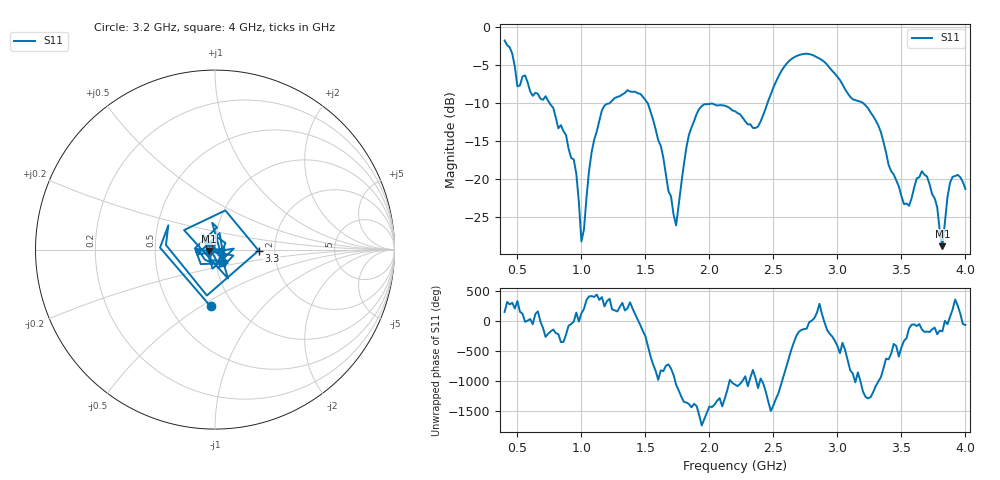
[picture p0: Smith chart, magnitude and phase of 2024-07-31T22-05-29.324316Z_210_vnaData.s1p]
!Created with skrf (http://scikit-rf.org).
# Hz S RI R 50.0
!freq ReS11 ImS11
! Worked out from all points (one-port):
!   181 points, 400 MHz to 4 GHz, reference 50 ohm
!   lowest |S11| = -28.8 dB at 3.82 GHz (marker M1), VSWR 1.08, Z = 46.6 - j0.693 ohm
!   |S11| at or under -10 dB: 752.1 MHz to 1.221 GHz (468.4 MHz wide, 47.5 % of centre); 1.518 GHz to 2.453 GHz (935.6 MHz wide, 47.1 % of centre); 3.202 GHz to end of sweep
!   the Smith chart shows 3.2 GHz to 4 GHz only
!   S11 on the Smith chart (normalised r, x): 3.2 GHz: 0.78, -0.55; 3.3 GHz: 1.64, -0.02; 4 GHz: 1.07, -0.17
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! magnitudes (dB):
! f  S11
! 400 MHz  -1.7
! 500 MHz  -7.8
! 560 MHz  -6.3
! 860 MHz  -13.7
! 960 MHz  -19.2
! 1 GHz  -28.2
! 1.08 GHz  -16.4
! 1.16 GHz  -11.0
! 1.3 GHz  -9.1
! 1.52 GHz  -10.1
! 1.74 GHz  -26.1
! 1.76 GHz  -23.3
! 1.84 GHz  -14.2
! 1.92 GHz  -10.8
! 2.2 GHz  -11.0
! 2.38 GHz  -13.1
! 2.66 GHz  -4.0
! 2.88 GHz  -4.3
! 3.1 GHz  -9.2
! 3.2 GHz  -10.0
! 3.3 GHz  -12.3
! 3.56 GHz  -23.5
! 3.62 GHz  -19.9
! 3.7 GHz  -19.6
! 3.78 GHz  -23.7
! 3.82 GHz  -28.8
! 3.88 GHz  -20.4
! 4 GHz  -21.3
